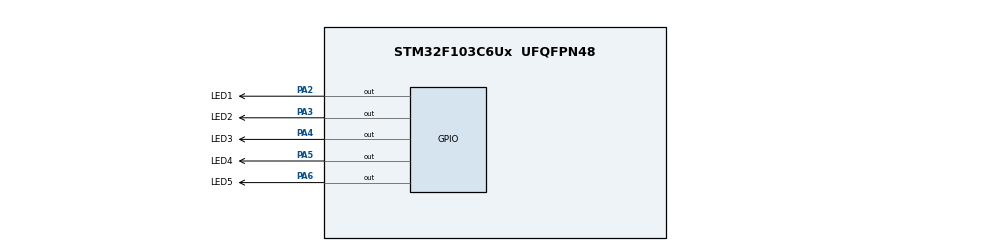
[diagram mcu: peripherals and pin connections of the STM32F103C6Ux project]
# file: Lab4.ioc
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Mcu.Family=STM32F1
Mcu.Name=STM32F103C6Ux
Mcu.Package=UFQFPN48
NVIC.PriorityGroup=NVIC_PRIORITYGROUP_4
NVIC.TIM2_IRQn=true\:0\:0\:false\:false\:true\:true\:true
PA2.GPIO_Label=LED1
PA2.Signal=GPIO_Output
PA3.GPIO_Label=LED2
PA3.Signal=GPIO_Output
PA4.GPIO_Label=LED3
PA4.Signal=GPIO_Output
PA5.GPIO_Label=LED4
PA5.Signal=GPIO_Output
PA6.GPIO_Label=LED5
PA6.Signal=GPIO_Output
ProjectManager.HeapSize=0x200
ProjectManager.StackSize=0x400
ProjectManager.TargetToolchain=STM32CubeIDE
RCC.APB1Freq_Value=8000000
RCC.APB2Freq_Value=8000000
TIM2.Period=9
TIM2.Prescaler=7999
VP_SYS_VS_ND.Mode=No_Debug
VP_TIM2_VS_ClockSourceINT.Mode=Internal
board=custom

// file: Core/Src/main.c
/* USER CODE BEGIN Header */
/**
  ******************************************************************************
  * @file           : main.c
  * @brief          : Main program body
  ******************************************************************************
  * @attention
  *
  * <h2><center>&copy; Copyright (c) 2022 STMicroelectronics.
  * All rights reserved.</center></h2>
  *
  * This software component is licensed by ST under BSD 3-Clause license,
  * the "License"; You may not use this file except in compliance with the
  * License. You may obtain a copy of the License at:
  *                        opensource.org/licenses/BSD-3-Clause
  *
  ******************************************************************************
  */
/* USER CODE END Header */
#include "main.h"

/* USER CODE BEGIN Includes */
//#include "sched.h"
#include "Sheduler.h"
#include "timer.h"
/* USER CODE END Includes */

TIM_HandleTypeDef htim2;

void SystemClock_Config(void);
static void MX_GPIO_Init(void);
static void MX_TIM2_Init(void);

/* USER CODE BEGIN 0 */
void func1(void){
	HAL_GPIO_TogglePin(LED1_GPIO_Port, LED1_Pin);
}
void func2(void){
	HAL_GPIO_TogglePin(LED2_GPIO_Port, LED2_Pin);
}
void func3(void){
	HAL_GPIO_TogglePin(LED3_GPIO_Port, LED3_Pin);
}
void func4(void){
	HAL_GPIO_TogglePin(LED4_GPIO_Port, LED4_Pin);
}
void func5(void){
	HAL_GPIO_TogglePin(LED5_GPIO_Port, LED5_Pin);
}
/* USER CODE END 0 */

int main(void)
{

  /* MCU Configuration--------------------------------------------------------*/

  /* Reset of all peripherals, Initializes the Flash interface and the Systick. */
  HAL_Init();

  /* Configure the system clock */
  SystemClock_Config();

  /* Initialize all configured peripherals */
  MX_GPIO_Init();
  MX_TIM2_Init();
  /* USER CODE BEGIN 2 */
  HAL_TIM_Base_Start_IT(&htim2);
  SCH_Init();
  SCH_Add_Task(func1, 10, 50);
  SCH_Add_Task(func2, 20, 100);
  SCH_Add_Task(func3, 30, 150);
  SCH_Add_Task(func4, 40, 200);
  SCH_Add_Task(func5, 50, 250);
  /* USER CODE END 2 */

  /* Infinite loop */
  while (1)
  {
	  SCH_Dispatch_Tasks();
  }
}

void SystemClock_Config(void)
{
  RCC_OscInitTypeDef RCC_OscInitStruct = {0};
  RCC_ClkInitTypeDef RCC_ClkInitStruct = {0};

  /** Initializes the RCC Oscillators according to the specified parameters
  * in the RCC_OscInitTypeDef structure.
  */
  RCC_OscInitStruct.OscillatorType = RCC_OSCILLATORTYPE_HSI;
  RCC_OscInitStruct.HSIState = RCC_HSI_ON;
  RCC_OscInitStruct.HSICalibrationValue = RCC_HSICALIBRATION_DEFAULT;
  RCC_OscInitStruct.PLL.PLLState = RCC_PLL_NONE;
  if (HAL_RCC_OscConfig(&RCC_OscInitStruct) != HAL_OK)
  {
    Error_Handler();
  }
  /** Initializes the CPU, AHB and APB buses clocks
  */
  RCC_ClkInitStruct.ClockType = RCC_CLOCKTYPE_HCLK|RCC_CLOCKTYPE_SYSCLK
                              |RCC_CLOCKTYPE_PCLK1|RCC_CLOCKTYPE_PCLK2;
  RCC_ClkInitStruct.SYSCLKSource = RCC_SYSCLKSOURCE_HSI;
  RCC_ClkInitStruct.AHBCLKDivider = RCC_SYSCLK_DIV1;
  RCC_ClkInitStruct.APB1CLKDivider = RCC_HCLK_DIV1;
  RCC_ClkInitStruct.APB2CLKDivider = RCC_HCLK_DIV1;

  if (HAL_RCC_ClockConfig(&RCC_ClkInitStruct, FLASH_LATENCY_0) != HAL_OK)
  {
    Error_Handler();
  }
}

static void MX_TIM2_Init(void)
{

  TIM_ClockConfigTypeDef sClockSourceConfig = {0};
  TIM_MasterConfigTypeDef sMasterConfig = {0};

  htim2.Instance = TIM2;
  htim2.Init.Prescaler = 7999;
  htim2.Init.CounterMode = TIM_COUNTERMODE_UP;
  htim2.Init.Period = 9;
  htim2.Init.ClockDivision = TIM_CLOCKDIVISION_DIV1;
  htim2.Init.AutoReloadPreload = TIM_AUTORELOAD_PRELOAD_DISABLE;
  if (HAL_TIM_Base_Init(&htim2) != HAL_OK)
  {
    Error_Handler();
  }
  sClockSourceConfig.ClockSource = TIM_CLOCKSOURCE_INTERNAL;
  if (HAL_TIM_ConfigClockSource(&htim2, &sClockSourceConfig) != HAL_OK)
  {
    Error_Handler();
  }
  sMasterConfig.MasterOutputTrigger = TIM_TRGO_RESET;
  sMasterConfig.MasterSlaveMode = TIM_MASTERSLAVEMODE_DISABLE;
  if (HAL_TIMEx_MasterConfigSynchronization(&htim2, &sMasterConfig) != HAL_OK)
  {
    Error_Handler();
  }

}

static void MX_GPIO_Init(void)
{
  GPIO_InitTypeDef GPIO_InitStruct = {0};

  /* GPIO Ports Clock Enable */
  __HAL_RCC_GPIOA_CLK_ENABLE();

  /*Configure GPIO pin Output Level */
  HAL_GPIO_WritePin(GPIOA, LED1_Pin|LED2_Pin|LED3_Pin|LED4_Pin
                          |LED5_Pin, GPIO_PIN_RESET);

  /*Configure GPIO pins : LED1_Pin LED2_Pin LED3_Pin LED4_Pin
                           LED5_Pin */
  GPIO_InitStruct.Pin = LED1_Pin|LED2_Pin|LED3_Pin|LED4_Pin
                          |LED5_Pin;
  GPIO_InitStruct.Mode = GPIO_MODE_OUTPUT_PP;
  GPIO_InitStruct.Pull = GPIO_NOPULL;
  GPIO_InitStruct.Speed = GPIO_SPEED_FREQ_LOW;
  HAL_GPIO_Init(GPIOA, &GPIO_InitStruct);

}

void Error_Handler(void)
{
  __disable_irq();
  while (1)
  {
  }
}

/************************ (C) COPYRIGHT STMicroelectronics *****END OF FILE****/
